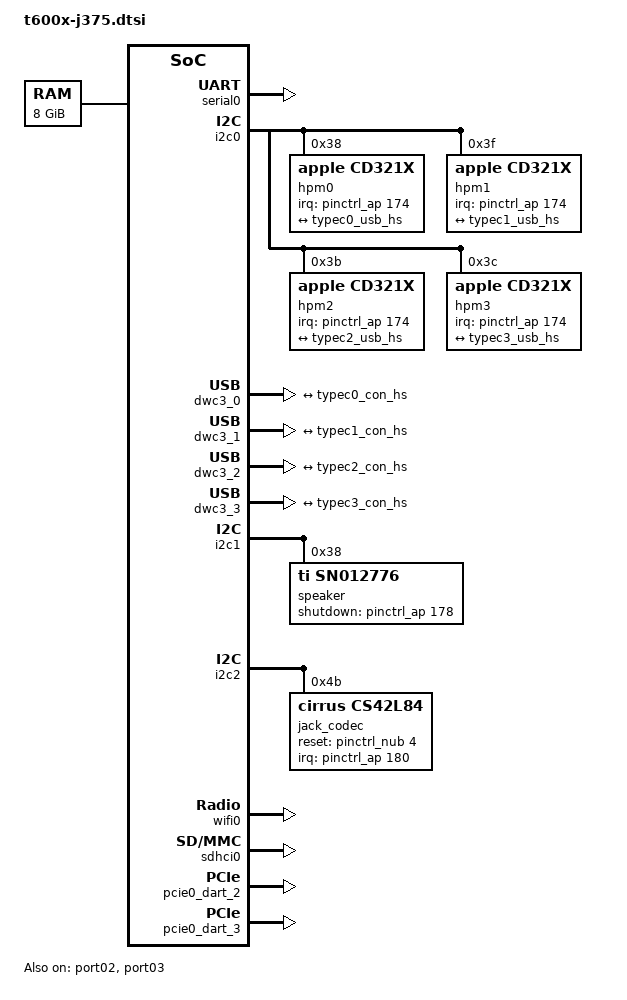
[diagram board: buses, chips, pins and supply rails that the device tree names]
// SPDX-License-Identifier: GPL-2.0+ OR MIT
/*
 * Mac Studio (2022)
 *
 * This file contains the parts common to J375 devices with both t6001 and t6002.
 *
 * target-type: J375c / J375d
 *
 * Copyright The Asahi Linux Contributors
 */

/ {
	aliases {
		bluetooth0 = &bluetooth0;
		dcp = &dcp;
		disp0 = &display;
		disp0_piodma = &disp0_piodma;
		serial0 = &serial0;
		wifi0 = &wifi0;
	};

	chosen {
		#address-cells = <2>;
		#size-cells = <2>;
		ranges;

		stdout-path = "serial0";

		framebuffer0: framebuffer@0 {
			compatible = "apple,simple-framebuffer", "simple-framebuffer";
			reg = <0 0 0 0>; /* To be filled by loader */
			/* Format properties will be added by loader */
			status = "disabled";
		};
	};

	reserved-memory {
		#address-cells = <2>;
		#size-cells = <2>;
		ranges;
		/* To be filled by loader */
	};

	memory@10000000000 {
		device_type = "memory";
		reg = <0x100 0 0x2 0>; /* To be filled by loader */
	};
};

&serial0 {
	status = "okay";
};

/* USB Type C */
&i2c0 {
	hpm0: usb-pd@38 {
		compatible = "apple,cd321x";
		reg = <0x38>;
		interrupt-parent = <&pinctrl_ap>;
		interrupts = <174 IRQ_TYPE_LEVEL_LOW>;
		interrupt-names = "irq";

		typec0: connector {
			compatible = "usb-c-connector";
			label = "USB-C Back Left";
			power-role = "dual";
			data-role = "dual";

			ports {
				#address-cells = <1>;
				#size-cells = <0>;
				port@0 {
					reg = <0>;
					typec0_con_hs: endpoint {
						remote-endpoint = <&typec0_usb_hs>;
					};
				};
			};
		};
	};

	hpm1: usb-pd@3f {
		compatible = "apple,cd321x";
		reg = <0x3f>;
		interrupt-parent = <&pinctrl_ap>;
		interrupts = <174 IRQ_TYPE_LEVEL_LOW>;
		interrupt-names = "irq";

		typec1: connector {
			compatible = "usb-c-connector";
			label = "USB-C Back Left Middle";
			power-role = "dual";
			data-role = "dual";

			ports {
				#address-cells = <1>;
				#size-cells = <0>;
				port@0 {
					reg = <0>;
					typec1_con_hs: endpoint {
						remote-endpoint = <&typec1_usb_hs>;
					};
				};
			};
		};
	};

	hpm2: usb-pd@3b {
		compatible = "apple,cd321x";
		reg = <0x3b>;
		interrupt-parent = <&pinctrl_ap>;
		interrupts = <174 IRQ_TYPE_LEVEL_LOW>;
		interrupt-names = "irq";

		typec2: connector {
			compatible = "usb-c-connector";
			label = "USB-C Back Right Middle";
			power-role = "dual";
			data-role = "dual";

			ports {
				#address-cells = <1>;
				#size-cells = <0>;
				port@0 {
					reg = <0>;
					typec2_con_hs: endpoint {
						remote-endpoint = <&typec2_usb_hs>;
					};
				};
			};
		};
	};

	hpm3: usb-pd@3c {
		compatible = "apple,cd321x";
		reg = <0x3c>;
		interrupt-parent = <&pinctrl_ap>;
		interrupts = <174 IRQ_TYPE_LEVEL_LOW>;
		interrupt-names = "irq";

		typec3: connector {
			compatible = "usb-c-connector";
			label = "USB-C Back Right";
			power-role = "dual";
			data-role = "dual";

			ports {
				#address-cells = <1>;
				#size-cells = <0>;
				port@0 {
					reg = <0>;
					typec3_con_hs: endpoint {
						remote-endpoint = <&typec3_usb_hs>;
					};
				};
			};
		};
	};
};

/* USB controllers */
&dwc3_0 {
	port {
		typec0_usb_hs: endpoint {
			remote-endpoint = <&typec0_con_hs>;
		};
	};
};

&dwc3_1 {
	port {
		typec1_usb_hs: endpoint {
			remote-endpoint = <&typec1_con_hs>;
		};
	};
};

&dwc3_2 {
	port {
		typec2_usb_hs: endpoint {
			remote-endpoint = <&typec2_con_hs>;
		};
	};
};

&dwc3_3 {
	port {
		typec3_usb_hs: endpoint {
			remote-endpoint = <&typec3_con_hs>;
		};
	};
};

/* Audio */
&i2c1 {
	status = "okay";

	speaker: codec@38 {
		compatible = "ti,sn012776", "ti,tas2764";
		reg = <0x38>;
		shutdown-gpios = <&pinctrl_ap 178 GPIO_ACTIVE_HIGH>;
		#sound-dai-cells = <0>;
	};
};

&i2c2 {
	status = "okay";

	jack_codec: codec@4b {
		compatible = "cirrus,cs42l84";
		reg = <0x4b>;
		reset-gpios = <&pinctrl_nub 4 GPIO_ACTIVE_HIGH>;
		#sound-dai-cells = <0>;
		interrupts-extended = <&pinctrl_ap 180 IRQ_TYPE_LEVEL_LOW>;
		sound-name-prefix = "Jack";
	};
};

&nco_clkref {
	clock-frequency = <1068000000>;
};

/ {
	sound: sound {
		/* compatible is set per machine */

		dai-link@0 {
			link-name = "Speaker";
			/*
			* DANGER ZONE: You can blow your speakers!
			*
			* The drivers are not ready, and unless you are careful
			* to attenuate the audio stream, you run the risk of
			* blowing your speakers.
			*/
			status = "disabled";
			cpu {
				sound-dai = <&mca 0>;
			};
			codec {
				sound-dai = <&speaker>;
			};
		};

		dai-link@1 {
			link-name = "Headphone Jack";

			cpu {
				sound-dai = <&mca 2>;
			};
			codec {
				sound-dai = <&jack_codec>;
			};
		};
	};
};

/* PCIe devices */
&port00 {
	/* WLAN */
	bus-range = <1 1>;
	pwren-gpios = <&smc_gpio 13 GPIO_ACTIVE_HIGH>;
	wifi0: wifi@0,0 {
		reg = <0x10000 0x0 0x0 0x0 0x0>;
		compatible = "pci14e4,4433";
		brcm,board-type = "apple,okinawa";
		apple,antenna-sku = "XX";
		/* To be filled by the loader */
		local-mac-address = [00 10 18 00 00 10];
	};

	bluetooth0: network@0,1 {
		compatible = "pci14e4,5f71";
		brcm,board-type = "apple,okinawa";
		reg = <0x10100 0x0 0x0 0x0 0x0>;
		/* To be filled by the loader */
		local-bd-address = [00 00 00 00 00 00];
	};
};

&port01 {
	/* SD card reader */
	bus-range = <2 2>;
	pwren-gpios = <&smc_gpio 26 GPIO_ACTIVE_HIGH>;
	sdhci0: mmc@0,0 {
		compatible = "pci17a0,9755";
		reg = <0x20000 0x0 0x0 0x0 0x0>;
		cd-inverted;
		wp-inverted;
	};
};

&port02 {
	/* 10 Gbit Ethernet */
	bus-range = <3 3>;
	status = "okay";
	ethernet0: ethernet@0,0 {
		reg = <0x30000 0x0 0x0 0x0 0x0>;
		/* To be filled by the loader */
		local-mac-address = [00 10 18 00 00 00];
	};
};

&port03 {
	/* USB xHCI */
	bus-range = <4 4>;
	pwren-gpios = <&smc_gpio 20 GPIO_ACTIVE_HIGH>;
	status = "okay";
};


&pcie0_dart_2 {
	status = "okay";
};

&pcie0_dart_3 {
	status = "okay";
};

#include "spi1-nvram.dtsi"
